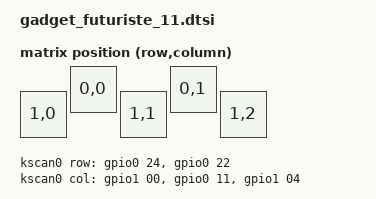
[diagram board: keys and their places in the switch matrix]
/*
 * Copyright (c) 2020 The ZMK Contributors
 *
 * SPDX-License-Identifier: MIT
 */

#include <dt-bindings/zmk/matrix_transform.h>
#include <physical_layouts.dtsi>

/ {

	chosen {
		zmk,kscan = &kscan0;
		// zmk,matrix_transform = &default_transform;
		zmk,physical-layout = &macropad_physical_layout;
	};

	default_transform: keymap_transform_0 {
		compatible = "zmk,matrix-transform";
		columns = <3>;
		rows = <2>;
		map = 
			  <	RC(0,0)	RC(0,1)	> 
			, < RC(1,0)	RC(1, 1) RC(1,2)>;
	};

	kscan0: kscan {
        compatible = "zmk,kscan-gpio-matrix";
        wakeup-source;
        diode-direction = "col2row";
        col-gpios
            = <&gpio1 00 GPIO_ACTIVE_HIGH>
            , <&gpio0 11 GPIO_ACTIVE_HIGH>
            , <&gpio1 04 GPIO_ACTIVE_HIGH>
            ;
        row-gpios
            = <&gpio0 24 (GPIO_ACTIVE_HIGH | GPIO_PULL_DOWN)>
            , <&gpio0 22 (GPIO_ACTIVE_HIGH | GPIO_PULL_DOWN)>
            ;
    };

	macropad_physical_layout: macropad_physical_layout {
        compatible = "zmk,physical-layout";
        display-name = "Gadget Futuriste #11";
        transform = <&default_transform>;
        kscan = <&kscan0>;
        keys  //                     w   h    x    y     rot    rx    ry
            = <&key_physical_attrs 100 100  100    0       0     0     0>
            , <&key_physical_attrs 100 100  300    0       0     0     0>
            , <&key_physical_attrs 100 100    0   50       0     0     0>
            , <&key_physical_attrs 100 100  200   50       0     0     0>
            , <&key_physical_attrs 100 100  400   50       0     0     0>
            ;
    };
};
